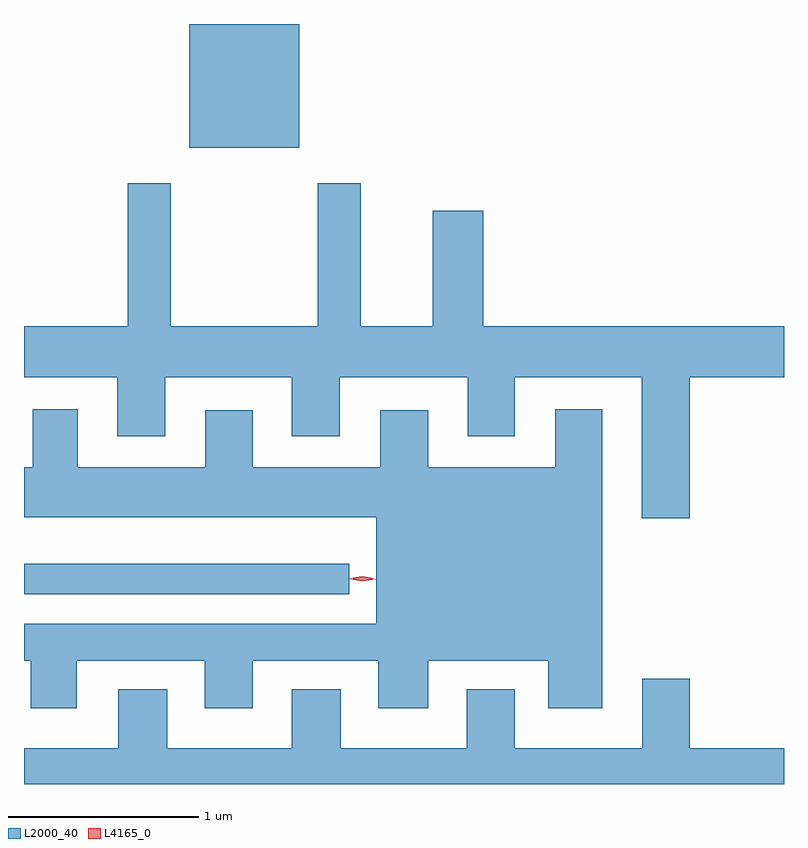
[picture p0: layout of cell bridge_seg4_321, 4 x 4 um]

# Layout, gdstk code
import gdstk
lib = gdstk.Library(unit=1e-6, precision=1e-09)
def R(c, l, rs):  # rectangles x0, y0, x1, y1
    for r in rs: c.add(gdstk.rectangle(r[:2], r[2:], *l))
def P(c, l, *ps):  # polygons
    for p in ps: c.add(gdstk.Polygon(p, *l))
L2000_40 = (2000, 40)
L4165_0 = (4165, 0)

bridge_seg4_321 = lib.new_cell('bridge_seg4_321')
R(bridge_seg4_321, L2000_40, [(752.386,1282.496,754.098,1282.654), (753.256,1284.846,753.834,1285.496)])
P(bridge_seg4_321, L2000_40, [(755.889,1283.636),(756.386,1283.636),(756.386,1283.904),(754.804,1283.904),(754.804,1284.514),(754.536,1284.514),(754.536,1283.904),(754.159,1283.904),(754.159,1284.659),(753.931,1284.659),(753.931,1283.904),(753.159,1283.904),(753.159,1284.659),(752.931,1284.659),(752.931,1283.904),(752.386,1283.904),(752.386,1283.636),(752.876,1283.636),(752.876,1283.326),(753.129,1283.326),(753.129,1283.636),(753.796,1283.636),(753.796,1283.326),(754.049,1283.326),(754.049,1283.636),(754.721,1283.636),(754.721,1283.326),(754.969,1283.326),(754.969,1283.636),(755.636,1283.636),(755.636,1282.896),(755.889,1282.896)],
  [(752.664,1282.146),(753.336,1282.146),(753.336,1281.896),(753.589,1281.896),(753.589,1282.146),(754.251,1282.146),(754.251,1281.896),(754.514,1281.896),(754.514,1282.146),(755.146,1282.146),(755.146,1281.896),(755.429,1281.896),(755.429,1283.469),(755.181,1283.469),(755.181,1283.164),(754.514,1283.164),(754.514,1283.464),(754.261,1283.464),(754.261,1283.164),(753.589,1283.164),(753.589,1283.464),(753.341,1283.464),(753.341,1283.164),(752.669,1283.164),(752.669,1283.469),(752.431,1283.469),(752.431,1283.164),(752.386,1283.164),(752.386,1282.901),(754.241,1282.901),(754.241,1282.339),(752.386,1282.339),(752.386,1282.146),(752.421,1282.146),(752.421,1281.896),(752.664,1281.896)],
  [(756.386,1281.684),(755.889,1281.684),(755.889,1282.049),(755.641,1282.049),(755.641,1281.684),(754.969,1281.684),(754.969,1281.994),(754.716,1281.994),(754.716,1281.684),(754.054,1281.684),(754.054,1281.994),(753.796,1281.994),(753.796,1281.684),(753.139,1281.684),(753.139,1281.994),(752.881,1281.994),(752.881,1281.684),(752.386,1281.684),(752.386,1281.496),(756.386,1281.496)])
P(bridge_seg4_321, L4165_0, [(754.166,1282.569),(754.104,1282.578),(754.103,1282.579),(754.104,1282.58),(754.166,1282.589),(754.227,1282.58),(754.228,1282.58),(754.227,1282.579)],
  [(754.169,1282.563),(754.1,1282.573),(754.1,1282.573),(754.1,1282.574),(754.169,1282.583),(754.237,1282.574),(754.238,1282.573),(754.237,1282.573)])

lib.write_gds('bridge_seg4_321.gds')
